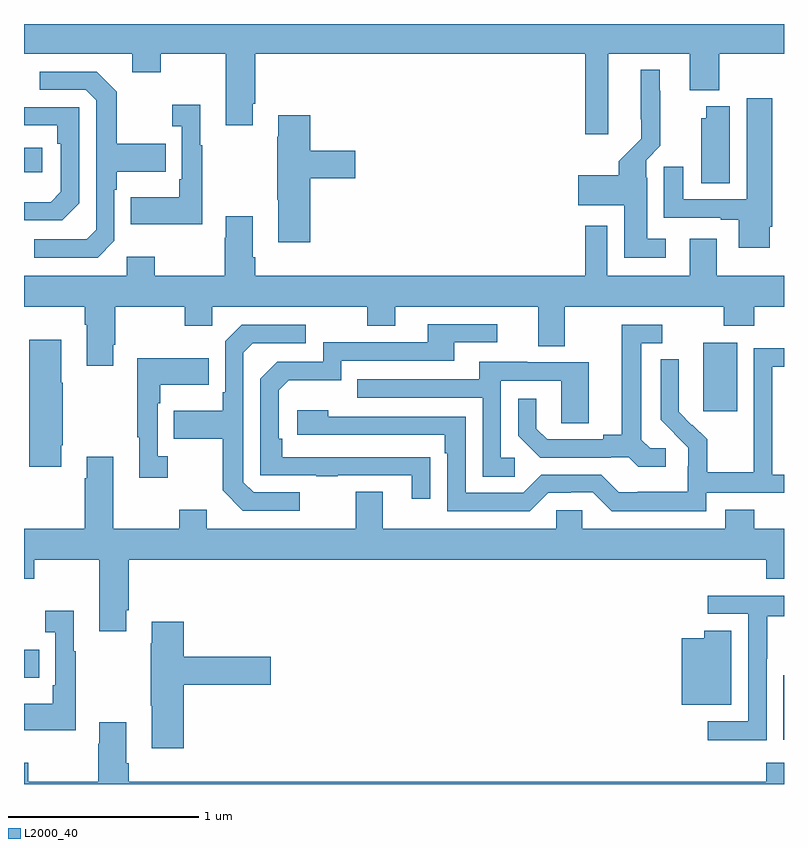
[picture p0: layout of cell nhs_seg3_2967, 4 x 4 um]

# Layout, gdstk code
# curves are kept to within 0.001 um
import gdstk
lib = gdstk.Library(unit=1e-6, precision=1e-09)
def R(c, l, rs):  # rectangles x0, y0, x1, y1
    for r in rs: c.add(gdstk.rectangle(r[:2], r[2:], *l))
def P(c, l, *ps):  # polygons
    for p in ps: c.add(gdstk.Polygon(p, *l))
L2000_40 = (2000, 40)

nhs_seg3_2967 = lib.new_cell('nhs_seg3_2967')
R(nhs_seg3_2967, L2000_40, [(268.997,702.633,269,702.973), (265,702.959,265.079,703.107), (268.574,704.361,268.753,704.722), (265,705.62,265.096,705.75)])
P(nhs_seg3_2967, L2000_40, [(268.075,706.244),(268.505,706.244),(268.505,706.052),(268.658,706.052),(268.658,706.244),(269,706.244),(269,706.4),(265,706.4),(265,706.244),(265.571,706.244),(265.571,706.145),(265.719,706.145),(265.719,706.244),(266.063,706.244),(266.063,705.867),(266.203,705.867),(266.203,705.979),(266.216,705.979),(266.216,706.244),(267.953,706.244),(267.953,705.819),(268.075,705.819)],
  [(268.378,705.271),(268.279,705.271),(268.279,705.59),(268.275,705.59),(268.275,705.684),(268.349,705.758),(268.349,706.049),(268.345,706.049),(268.345,706.159),(268.247,706.159),(268.248,705.796),(268.13,705.678),(268.13,705.604),(267.918,705.604),(267.918,705.446),(268.16,705.446),(268.16,705.17),(268.378,705.17)],
  [(265.476,705.258),(265.476,705.527),(265.489,705.527),(265.489,705.623),(265.745,705.623),(265.745,705.771),(265.489,705.771),(265.489,706.043),(265.383,706.149),(265.083,706.149),(265.083,706.053),(265.326,706.053),(265.38,705.999),(265.38,705.318),(265.329,705.267),(265.053,705.267),(265.053,705.171),(265.389,705.171)],
  [(268.924,705.334),(268.937,705.334),(268.937,706.009),(268.805,706.009),(268.805,705.477),(268.471,705.477),(268.471,705.649),(268.367,705.649),(268.367,705.381),(268.667,705.381),(268.667,705.369),(268.763,705.369),(268.763,705.222),(268.924,705.222)],
  [(265.939,705.763),(265.927,705.763),(265.927,705.976),(265.779,705.976),(265.779,705.863),(265.83,705.863),(265.83,705.583),(265.818,705.583),(265.818,705.487),(265.561,705.487),(265.561,705.347),(265.939,705.347)],
  [(268.714,705.967),(268.592,705.967),(268.592,705.903),(268.565,705.903),(268.565,705.562),(268.714,705.562)],
  [(265.29,705.456),(265.29,705.963),(265,705.963),(265,705.867),(265.174,705.867),(265.174,705.77),(265.194,705.77),(265.194,705.516),(265.141,705.463),(265,705.463),(265,705.366),(265.2,705.366)],
  [(266.507,705.587),(266.743,705.587),(266.743,705.734),(266.507,705.734),(266.507,705.919),(266.339,705.919),(266.339,705.806),(266.332,705.806),(266.332,705.475),(266.339,705.475),(266.339,705.252),(266.507,705.252)],
  [(265.471,704.713),(265.479,704.713),(265.479,704.912),(265.846,704.912),(265.846,704.813),(265.992,704.813),(265.992,704.912),(266.806,704.912),(266.806,704.813),(266.953,704.813),(266.953,704.912),(267.707,704.912),(267.707,704.704),(267.847,704.704),(267.847,704.912),(268.684,704.912),(268.684,704.813),(268.844,704.813),(268.844,704.912),(269,704.912),(269,705.076),(268.645,705.076),(268.645,705.271),(268.505,705.271),(268.505,705.076),(268.071,705.076),(268.071,705.337),(267.955,705.337),(267.955,705.076),(266.216,705.076),(266.216,705.172),(266.203,705.172),(266.203,705.388),(266.063,705.388),(266.063,705.275),(266.056,705.275),(266.056,705.076),(265.689,705.076),(265.689,705.175),(265.542,705.175),(265.542,705.076),(265,705.076),(265,704.912),(265.319,704.912),(265.319,704.816),(265.331,704.816),(265.331,704.601),(265.471,704.601)],
  [(267.137,704.12),(266.36,704.121),(266.36,704.218),(266.34,704.218),(266.34,704.472),(266.393,704.525),(266.67,704.525),(266.67,704.628),(267.265,704.628),(267.265,704.724),(267.49,704.724),(267.49,704.82),(267.125,704.82),(267.125,704.724),(266.574,704.724),(266.574,704.622),(266.334,704.622),(266.244,704.532),(266.244,704.025),(266.539,704.025),(266.539,704.02),(266.651,704.02),(266.651,704.025),(267.041,704.025),(267.041,703.902),(267.137,703.902)],
  [(266.452,703.935),(266.208,703.935),(266.154,703.989),(266.154,704.67),(266.205,704.721),(266.482,704.721),(266.482,704.817),(266.145,704.817),(266.058,704.73),(266.058,704.461),(266.046,704.461),(266.046,704.365),(265.789,704.365),(265.789,704.218),(266.046,704.218),(266.046,703.945),(266.151,703.839),(266.452,703.839)],
  [(268.378,704.166),(268.296,704.166),(268.249,704.213),(268.249,704.721),(268.36,704.721),(268.36,704.817),(268.145,704.817),(268.145,704.237),(268.049,704.237),(268.049,704.214),(267.754,704.214),(267.697,704.271),(267.697,704.428),(267.6,704.428),(267.6,704.234),(267.716,704.118),(268.088,704.118),(268.088,704.121),(268.182,704.121),(268.234,704.069),(268.378,704.069)],
  [(265.195,704.182),(265.203,704.182),(265.203,704.513),(265.195,704.513),(265.195,704.737),(265.028,704.737),(265.028,704.07),(265.195,704.07)],
  [(268.59,703.932),(269,703.932),(269,704.028),(268.938,704.028),(268.938,704.595),(269,704.595),(269,704.694),(268.842,704.694),(268.842,704.264),(268.84,704.264),(268.84,704.041),(268.595,704.041),(268.595,704.215),(268.518,704.292),(268.515,704.289),(268.445,704.36),(268.446,704.636),(268.35,704.636),(268.35,704.318),(268.496,704.17),(268.496,704.073),(268.494,704.073),(268.494,703.939),(268.231,703.939),(268.231,703.935),(268.131,703.935),(268.038,704.028),(267.723,704.028),(267.627,703.932),(267.324,703.932),(267.324,704.334),(266.6,704.334),(266.6,704.368),(266.439,704.368),(266.439,704.238),(267.215,704.238),(267.215,704.141),(267.228,704.141),(267.228,703.836),(267.663,703.836),(267.759,703.932),(267.878,703.932),(267.878,703.935),(267.993,703.935),(268.093,703.835),(268.59,703.835)],
  [(265.756,704.126),(265.704,704.126),(265.704,704.405),(265.717,704.405),(265.717,704.501),(265.973,704.501),(265.973,704.641),(265.596,704.641),(265.596,704.225),(265.607,704.225),(265.607,704.013),(265.756,704.013)],
  [(267.583,704.118),(267.51,704.118),(267.51,704.523),(267.828,704.523),(267.828,704.299),(267.973,704.299),(267.973,704.619),(267.649,704.619),(267.649,704.623),(267.395,704.623),(267.395,704.529),(266.755,704.529),(266.755,704.433),(267.414,704.433),(267.414,704.017),(267.583,704.017)],
  [(265.537,703.315),(265.55,703.315),(265.55,703.58),(268.907,703.58),(268.907,703.481),(269,703.481),(269,703.744),(268.844,703.744),(268.844,703.843),(268.691,703.843),(268.691,703.744),(267.939,703.744),(267.939,703.842),(267.801,703.842),(267.801,703.744),(266.887,703.744),(266.887,703.939),(266.747,703.939),(266.747,703.744),(265.963,703.744),(265.963,703.843),(265.816,703.843),(265.816,703.744),(265.471,703.744),(265.471,704.122),(265.331,704.122),(265.331,704.009),(265.319,704.009),(265.319,703.744),(265,703.744),(265,703.481),(265.053,703.481),(265.053,703.58),(265.397,703.58),(265.397,703.203),(265.537,703.203)],
  [(268.908,703.06),(268.911,703.06),(268.911,703.284),(269,703.284),(269,703.392),(268.599,703.392),(268.599,703.296),(268.812,703.296),(268.812,702.729),(268.599,702.729),(268.599,702.631),(268.908,702.631)],
  [(265.273,703.099),(265.261,703.099),(265.261,703.312),(265.113,703.312),(265.113,703.199),(265.164,703.199),(265.164,702.919),(265.152,702.919),(265.152,702.823),(265,702.823),(265,702.683),(265.273,702.683)],
  [(265.841,702.923),(266.299,702.923),(266.299,703.07),(265.841,703.07),(265.841,703.255),(265.673,703.255),(265.673,703.142),(265.666,703.142),(265.666,702.811),(265.673,702.811),(265.673,702.588),(265.841,702.588)],
  [(268.723,703.207),(268.58,703.207),(268.58,703.168),(268.463,703.168),(268.463,702.818),(268.723,702.818)],
  [(269,702.511),(268.907,702.511),(268.907,702.412),(265.55,702.412),(265.55,702.508),(265.537,702.508),(265.537,702.724),(265.397,702.724),(265.397,702.611),(265.39,702.611),(265.39,702.412),(265.023,702.412),(265.023,702.511),(265,702.511),(265,702.4),(269,702.4)])

lib.write_gds('nhs_seg3_2967.gds')
